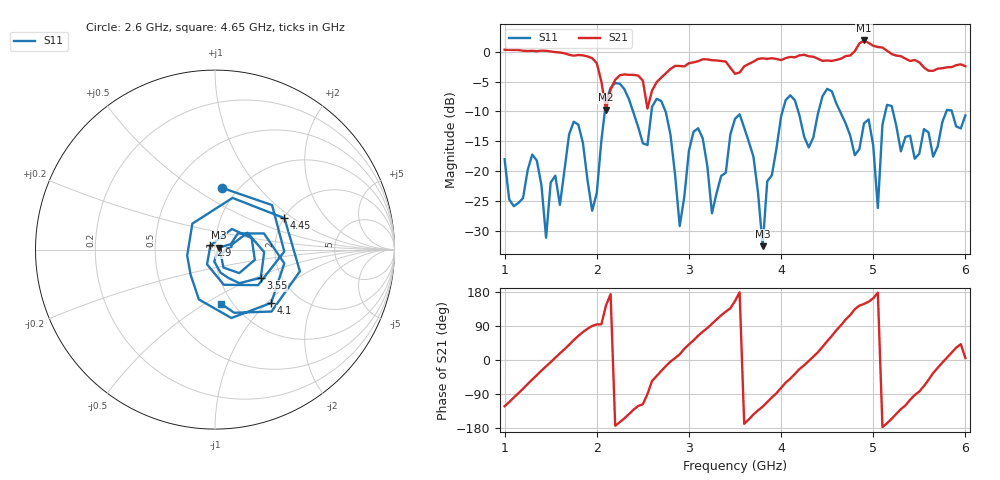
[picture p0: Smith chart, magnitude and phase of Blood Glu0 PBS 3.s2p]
! NanoVNA-App
! Date: 2024-03-21 11:36:08
! Start: 1GHz Stop: 6GHz Points: 101
! S-Parameter data: F S11 S21 S12 S22
# Hz S RI R 50
!	Frequency	S11_Real	S11_Imag	S21_Real	S21_Imag	S12_Real	S12_Imag	S22_Real	S22_Imag
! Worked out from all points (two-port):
!   101 points, 1 GHz to 6 GHz, reference 50 ohm
!   highest |S21| = 1.86 dB at 4.9 GHz (marker M1); lowest = -9.7 dB at 2.1 GHz (marker M2)
!   |S21| within 3 dB of the highest: start of sweep to 1.952 GHz; 4.655 GHz to 5.345 GHz (690.1 MHz wide, 13.8 % of centre) (the widest 2 of 5)
!   lowest |S11| = -32.5 dB at 3.8 GHz (marker M3), VSWR 1.05, Z = 52.1 + j1.14 ohm
!   |S11| at or under -10 dB: start of sweep to 2.088 GHz; 2.746 GHz to 4.015 GHz (1.269 GHz wide, 37.5 % of centre); 5.214 GHz to 5.793 GHz (579.6 MHz wide, 10.5 % of centre) (the widest 3 of 7)
!   S12 and S22 are empty: the file has one direction only
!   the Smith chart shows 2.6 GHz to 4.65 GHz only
!   S11 on the Smith chart (normalised r, x): 2.6 GHz: 0.84, +0.66; 2.9 GHz: 0.95, +0.04; 3.55 GHz: 1.57, -0.54; 4.1 GHz: 1.45, -1.06; 4.45 GHz: 2.02, +0.86; 4.65 GHz: 0.89, -0.59
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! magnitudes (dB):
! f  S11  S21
! 1 GHz  -18.0  0.3
! 1.35 GHz  -18.2  0.1
! 1.45 GHz  -31.1  0.1
! 1.85 GHz  -15.3  -0.6
! 1.95 GHz  -26.6  -1.1
! 2.1 GHz  -8.4  -9.7
! 2.6 GHz  -9.2  -6.5
! 2.7 GHz  -8.3  -4.3
! 2.9 GHz  -29.1  -2.4
! 3.05 GHz  -13.4  -1.8
! 3.25 GHz  -27.0  -1.4
! 3.5 GHz  -11.2  -3.7
! 3.55 GHz  -10.5  -3.5
! 3.8 GHz  -32.5  -1.1
! 4.1 GHz  -7.3  -0.9
! 4.35 GHz  -14.3  -0.9
! 4.45 GHz  -7.4  -1.5
! 4.65 GHz  -10.3  -1.2
! 4.9 GHz  -12.0  1.9
! 5.05 GHz  -26.1  0.8
! 5.2 GHz  -9.1  -0.4
! 6 GHz  -10.7  -2.4
